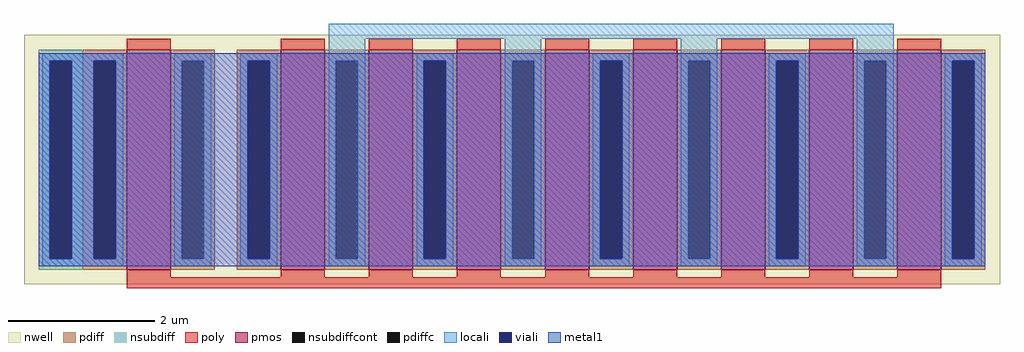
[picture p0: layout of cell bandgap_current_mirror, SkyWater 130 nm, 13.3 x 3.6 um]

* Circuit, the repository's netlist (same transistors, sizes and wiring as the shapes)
* NGSPICE file created from bandgap_current_mirror.ext - technology: sky130A


* Top level circuit bandgap_current_mirror

X0 w_n270_70# a_10_60# a_550_110# w_n270_70# sky130_fd_pr__pfet_01v8 ad=1.08e+13p pd=4.32e+07u as=7.2e+12p ps=2.88e+07u w=3e+06u l=600000u
X1 a_550_110# a_10_60# w_n270_70# w_n270_70# sky130_fd_pr__pfet_01v8 ad=0p pd=0u as=0p ps=0u w=3e+06u l=600000u
X2 w_n270_70# a_10_60# a_550_110# w_n270_70# sky130_fd_pr__pfet_01v8 ad=0p pd=0u as=0p ps=0u w=3e+06u l=600000u
X3 a_130_110# a_10_60# w_n270_70# w_n270_70# sky130_fd_pr__pfet_01v8 ad=1.8e+12p pd=7.2e+06u as=0p ps=0u w=3e+06u l=600000u
X4 a_550_110# a_10_60# w_n270_70# w_n270_70# sky130_fd_pr__pfet_01v8 ad=0p pd=0u as=0p ps=0u w=3e+06u l=600000u
X5 a_550_110# a_10_60# w_n270_70# w_n270_70# sky130_fd_pr__pfet_01v8 ad=0p pd=0u as=0p ps=0u w=3e+06u l=600000u
X6 w_n270_70# a_10_60# a_550_110# w_n270_70# sky130_fd_pr__pfet_01v8 ad=0p pd=0u as=0p ps=0u w=3e+06u l=600000u
X7 w_n270_70# a_10_60# a_550_110# w_n270_70# sky130_fd_pr__pfet_01v8 ad=0p pd=0u as=0p ps=0u w=3e+06u l=600000u
X8 a_550_110# a_10_60# w_n270_70# w_n270_70# sky130_fd_pr__pfet_01v8 ad=0p pd=0u as=0p ps=0u w=3e+06u l=600000u
.end

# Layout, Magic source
magic
tech sky130A
<< nwell >>
rect -135 35 1195 375
<< pmos >>
rect 5 55 65 355
rect 215 55 275 355
rect 335 55 395 355
rect 455 55 515 355
rect 575 55 635 355
rect 695 55 755 355
rect 815 55 875 355
rect 935 55 995 355
rect 1055 55 1115 355
<< pdiff >>
rect -55 340 5 355
rect -55 70 -40 340
rect -10 70 5 340
rect -55 55 5 70
rect 65 340 125 355
rect 65 70 80 340
rect 110 70 125 340
rect 65 55 125 70
rect 155 340 215 355
rect 155 70 170 340
rect 200 70 215 340
rect 155 55 215 70
rect 275 340 335 355
rect 275 70 290 340
rect 320 70 335 340
rect 275 55 335 70
rect 395 340 455 355
rect 395 70 410 340
rect 440 70 455 340
rect 395 55 455 70
rect 515 340 575 355
rect 515 70 530 340
rect 560 70 575 340
rect 515 55 575 70
rect 635 340 695 355
rect 635 70 650 340
rect 680 70 695 340
rect 635 55 695 70
rect 755 340 815 355
rect 755 70 770 340
rect 800 70 815 340
rect 755 55 815 70
rect 875 340 935 355
rect 875 70 890 340
rect 920 70 935 340
rect 875 55 935 70
rect 995 340 1055 355
rect 995 70 1010 340
rect 1040 70 1055 340
rect 995 55 1055 70
rect 1115 340 1175 355
rect 1115 70 1130 340
rect 1160 70 1175 340
rect 1115 55 1175 70
<< pdiffc >>
rect -40 70 -10 340
rect 80 70 110 340
rect 170 70 200 340
rect 290 70 320 340
rect 410 70 440 340
rect 530 70 560 340
rect 650 70 680 340
rect 770 70 800 340
rect 890 70 920 340
rect 1010 70 1040 340
rect 1130 70 1160 340
<< nsubdiff >>
rect -115 340 -55 355
rect -115 70 -100 340
rect -70 70 -55 340
rect -115 55 -55 70
<< nsubdiffcont >>
rect -100 70 -70 340
<< poly >>
rect 5 355 65 370
rect 215 355 275 370
rect 335 355 395 370
rect 455 355 515 370
rect 575 355 635 370
rect 695 355 755 370
rect 815 355 875 370
rect 935 355 995 370
rect 1055 355 1115 370
rect 5 45 65 55
rect 215 45 275 55
rect 335 45 395 55
rect 455 45 515 55
rect 575 45 635 55
rect 695 45 755 55
rect 815 45 875 55
rect 935 45 995 55
rect 1055 45 1115 55
rect 5 30 1115 45
<< locali >>
rect 280 370 1050 390
rect -110 340 0 350
rect -110 70 -100 340
rect -70 70 -40 340
rect -10 70 0 340
rect -110 60 0 70
rect 70 340 120 350
rect 70 70 80 340
rect 110 70 120 340
rect 70 60 120 70
rect 160 340 210 350
rect 160 70 170 340
rect 200 70 210 340
rect 160 60 210 70
rect 280 340 330 370
rect 280 70 290 340
rect 320 70 330 340
rect 280 60 330 70
rect 400 340 450 350
rect 400 70 410 340
rect 440 70 450 340
rect 400 60 450 70
rect 520 340 570 370
rect 520 70 530 340
rect 560 70 570 340
rect 520 60 570 70
rect 640 340 690 350
rect 640 70 650 340
rect 680 70 690 340
rect 640 60 690 70
rect 760 340 810 370
rect 760 70 770 340
rect 800 70 810 340
rect 760 60 810 70
rect 880 340 930 350
rect 880 70 890 340
rect 920 70 930 340
rect 880 60 930 70
rect 1000 340 1050 370
rect 1000 70 1010 340
rect 1040 70 1050 340
rect 1000 60 1050 70
rect 1120 340 1170 350
rect 1120 70 1130 340
rect 1160 70 1170 340
rect 1120 60 1170 70
<< viali >>
rect -100 70 -70 340
rect -40 70 -10 340
rect 170 70 200 340
rect 410 70 440 340
rect 650 70 680 340
rect 890 70 920 340
rect 1130 70 1160 340
<< metal1 >>
rect -115 340 1175 350
rect -115 70 -100 340
rect -70 70 -40 340
rect -10 70 170 340
rect 200 70 410 340
rect 440 70 650 340
rect 680 70 890 340
rect 920 70 1130 340
rect 1160 70 1175 340
rect -115 60 1175 70
<< end >>
